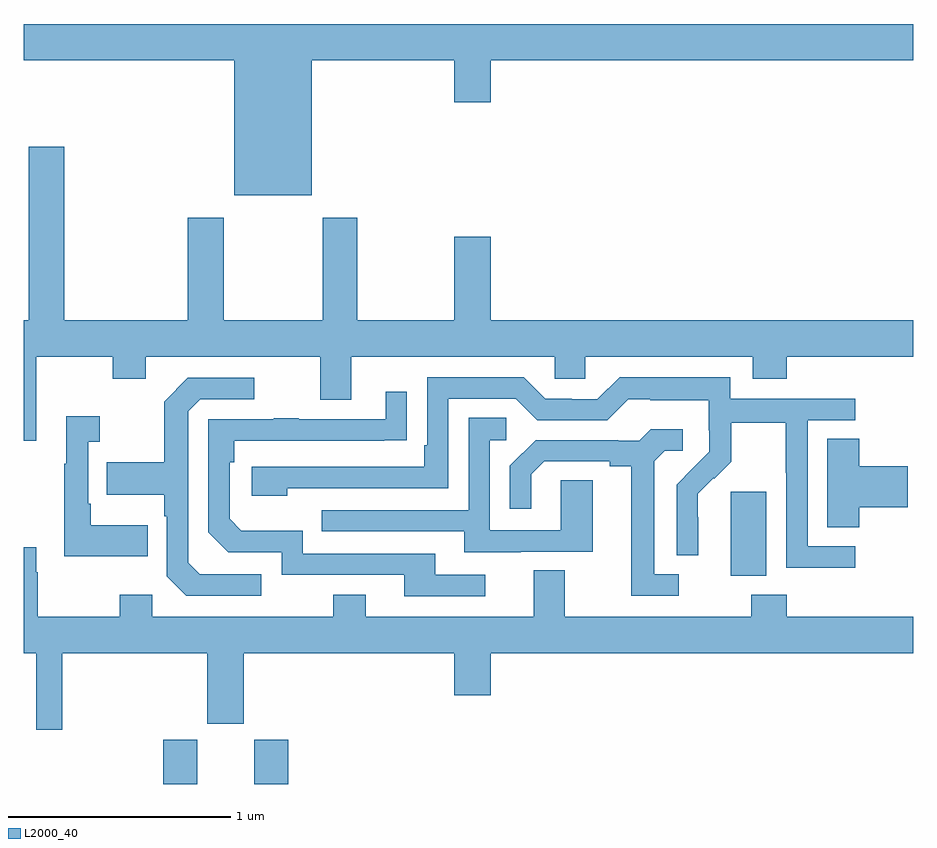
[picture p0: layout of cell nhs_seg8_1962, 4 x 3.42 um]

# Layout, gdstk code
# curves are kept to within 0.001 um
import gdstk
lib = gdstk.Library(unit=1e-6, precision=1e-09)
def R(c, l, rs):  # rectangles x0, y0, x1, y1
    for r in rs: c.add(gdstk.rectangle(r[:2], r[2:], *l))
def P(c, l, *ps):  # polygons
    for p in ps: c.add(gdstk.Polygon(p, *l))
L2000_40 = (2000, 40)

nhs_seg8_1962 = lib.new_cell('nhs_seg8_1962')
R(nhs_seg8_1962, L2000_40, [(235.628,1127.9,235.78,1128.099), (236.036,1127.9,236.189,1128.099), (238.178,1128.836,238.339,1129.213)])
P(nhs_seg8_1962, L2000_40, [(236.296,1131.152),(236.936,1131.152),(236.936,1130.964),(237.1,1130.964),(237.1,1131.152),(239,1131.152),(239,1131.316),(235,1131.316),(235,1131.152),(235.946,1131.152),(235.946,1130.546),(236.296,1130.546)],
  [(235.057,1129.82),(235.402,1129.82),(235.402,1129.721),(235.549,1129.721),(235.549,1129.82),(236.333,1129.82),(236.333,1129.626),(236.473,1129.626),(236.473,1129.82),(237.387,1129.82),(237.387,1129.722),(237.525,1129.722),(237.525,1129.82),(238.277,1129.82),(238.277,1129.721),(238.43,1129.721),(238.43,1129.82),(239,1129.82),(239,1129.984),(237.1,1129.984),(237.1,1130.359),(236.936,1130.359),(236.936,1129.984),(236.499,1129.984),(236.499,1130.446),(236.344,1130.446),(236.344,1129.984),(235.899,1129.984),(235.899,1130.446),(235.739,1130.446),(235.739,1129.984),(235.184,1129.984),(235.184,1130.764),(235.024,1130.764),(235.024,1129.984),(235,1129.984),(235,1129.443),(235.057,1129.443)],
  [(238.738,1128.969),(238.524,1128.969),(238.524,1129.536),(238.738,1129.536),(238.738,1129.632),(238.176,1129.632),(238.176,1129.729),(237.679,1129.729),(237.579,1129.629),(237.464,1129.629),(237.464,1129.632),(237.345,1129.632),(237.249,1129.728),(236.814,1129.728),(236.814,1129.423),(236.801,1129.423),(236.801,1129.326),(236.025,1129.326),(236.025,1129.196),(236.186,1129.196),(236.186,1129.23),(236.91,1129.23),(236.91,1129.632),(237.213,1129.632),(237.309,1129.536),(237.624,1129.536),(237.717,1129.629),(237.817,1129.629),(237.817,1129.625),(238.08,1129.625),(238.08,1129.491),(238.082,1129.491),(238.082,1129.394),(237.936,1129.246),(237.936,1128.928),(238.033,1128.928),(238.033,1129.1),(238.031,1129.1),(238.031,1129.205),(238.101,1129.275),(238.104,1129.272),(238.181,1129.349),(238.181,1129.524),(238.426,1129.524),(238.426,1129.3),(238.428,1129.3),(238.428,1128.871),(238.738,1128.871)],
  [(236.068,1128.843),(235.791,1128.843),(235.74,1128.894),(235.74,1129.575),(235.794,1129.629),(236.038,1129.629),(236.038,1129.725),(235.737,1129.725),(235.632,1129.619),(235.632,1129.347),(235.375,1129.347),(235.375,1129.199),(235.632,1129.199),(235.632,1129.103),(235.644,1129.103),(235.644,1128.834),(235.731,1128.747),(236.068,1128.747)],
  [(237.076,1128.84),(236.851,1128.84),(236.851,1128.936),(236.256,1128.936),(236.256,1129.039),(235.979,1129.039),(235.926,1129.092),(235.926,1129.346),(235.946,1129.346),(235.946,1129.443),(236.723,1129.444),(236.723,1129.663),(236.627,1129.663),(236.627,1129.539),(236.237,1129.539),(236.237,1129.544),(236.125,1129.544),(236.125,1129.539),(235.83,1129.539),(235.83,1129.032),(235.92,1128.942),(236.16,1128.942),(236.16,1128.84),(236.711,1128.84),(236.711,1128.744),(237.076,1128.744)],
  [(235.559,1129.063),(235.303,1129.063),(235.303,1129.159),(235.29,1129.159),(235.29,1129.439),(235.342,1129.439),(235.342,1129.552),(235.193,1129.552),(235.193,1129.339),(235.182,1129.339),(235.182,1128.923),(235.559,1128.923)],
  [(237.235,1128.945),(237.559,1128.945),(237.559,1129.265),(237.414,1129.265),(237.414,1129.041),(237.096,1129.041),(237.096,1129.446),(237.169,1129.446),(237.169,1129.547),(237,1129.547),(237,1129.131),(236.341,1129.131),(236.341,1129.035),(236.981,1129.035),(236.981,1128.941),(237.235,1128.941)],
  [(237.946,1128.843),(237.835,1128.843),(237.835,1129.351),(237.882,1129.398),(237.964,1129.398),(237.964,1129.495),(237.82,1129.495),(237.768,1129.443),(237.674,1129.443),(237.674,1129.446),(237.302,1129.446),(237.186,1129.33),(237.186,1129.137),(237.283,1129.137),(237.283,1129.293),(237.34,1129.35),(237.635,1129.35),(237.635,1129.328),(237.731,1129.328),(237.731,1128.747),(237.946,1128.747)],
  [(238.757,1129.145),(238.975,1129.145),(238.975,1129.328),(238.757,1129.328),(238.757,1129.451),(238.613,1129.451),(238.613,1129.054),(238.757,1129.054)],
  [(235.175,1128.488),(235.826,1128.488),(235.826,1128.171),(235.99,1128.171),(235.99,1128.488),(236.936,1128.488),(236.936,1128.3),(237.1,1128.3),(237.1,1128.488),(239,1128.488),(239,1128.652),(238.43,1128.652),(238.43,1128.751),(238.27,1128.751),(238.27,1128.652),(237.433,1128.652),(237.433,1128.86),(237.293,1128.86),(237.293,1128.652),(236.539,1128.652),(236.539,1128.751),(236.392,1128.751),(236.392,1128.652),(235.578,1128.652),(235.578,1128.751),(235.432,1128.751),(235.432,1128.652),(235.065,1128.652),(235.065,1128.851),(235.057,1128.851),(235.057,1128.964),(235,1128.964),(235,1128.488),(235.058,1128.488),(235.058,1128.144),(235.175,1128.144)])

lib.write_gds('nhs_seg8_1962.gds')
